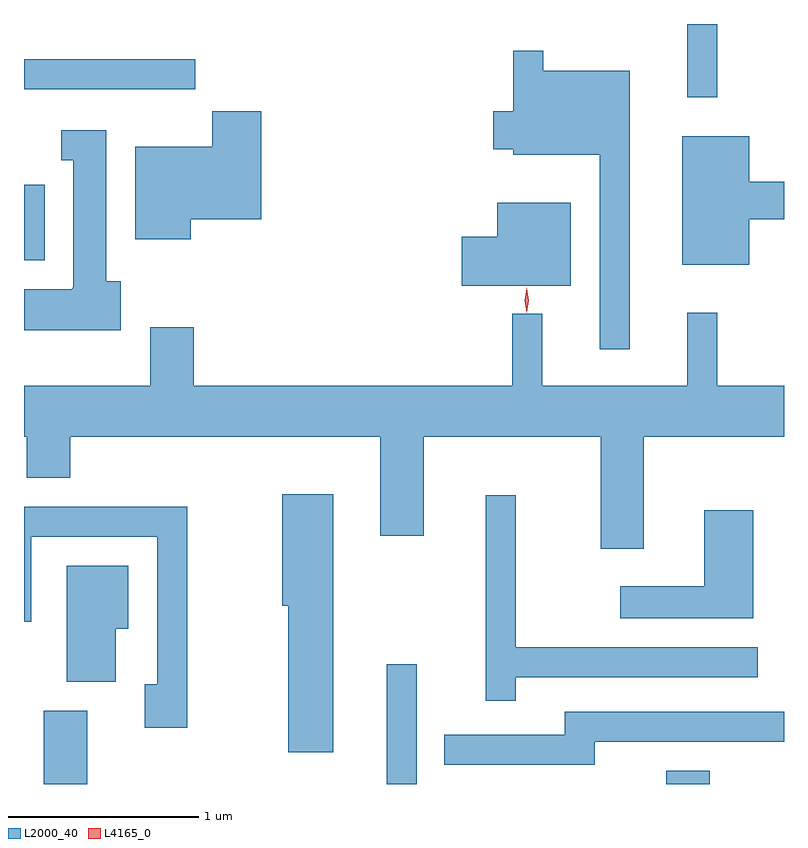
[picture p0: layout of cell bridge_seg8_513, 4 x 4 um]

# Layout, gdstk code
import gdstk
lib = gdstk.Library(unit=1e-6, precision=1e-09)
def R(c, l, rs):  # rectangles x0, y0, x1, y1
    for r in rs: c.add(gdstk.rectangle(r[:2], r[2:], *l))
def P(c, l, *ps):  # polygons
    for p in ps: c.add(gdstk.Polygon(p, *l))
L2000_40 = (2000, 40)
L4165_0 = (4165, 0)

bridge_seg8_513 = lib.new_cell('bridge_seg8_513')
R(bridge_seg8_513, L2000_40, [(224.741,1839.029,224.969,1839.414), (226.546,1839.029,226.704,1839.658), (228.016,1839.029,228.244,1839.099), (224.636,1841.786,224.744,1842.184), (228.126,1842.643,228.284,1843.029), (224.636,1842.686,225.538,1842.844)])
P(bridge_seg8_513, L2000_40, [(227.824,1842.784),(227.369,1842.784),(227.369,1842.888),(227.211,1842.888),(227.211,1842.569),(227.106,1842.569),(227.106,1842.371),(227.211,1842.371),(227.211,1842.341),(227.666,1842.341),(227.666,1841.318),(227.824,1841.318)],
  [(225.514,1842.001),(225.884,1842.001),(225.884,1842.569),(225.626,1842.569),(225.626,1842.384),(225.221,1842.384),(225.221,1841.896),(225.514,1841.896)],
  [(225.144,1841.674),(225.069,1841.674),(225.069,1842.469),(224.833,1842.469),(224.833,1842.311),(224.896,1842.311),(224.896,1841.64),(224.89,1841.64),(224.89,1841.634),(224.636,1841.634),(224.636,1841.416),(225.144,1841.416)],
  [(228.454,1842.001),(228.636,1842.001),(228.636,1842.199),(228.454,1842.199),(228.454,1842.439),(228.101,1842.439),(228.101,1841.761),(228.454,1841.761)],
  [(227.514,1842.089),(227.126,1842.089),(227.126,1841.909),(226.941,1841.909),(226.941,1841.651),(227.514,1841.651)],
  [(227.899,1840.856),(228.636,1840.856),(228.636,1841.124),(228.284,1841.124),(228.284,1841.508),(228.126,1841.508),(228.126,1841.124),(227.364,1841.124),(227.364,1841.503),(227.206,1841.503),(227.206,1841.124),(225.529,1841.124),(225.529,1841.434),(225.301,1841.434),(225.301,1841.124),(224.636,1841.124),(224.636,1840.856),(224.651,1840.856),(224.651,1840.641),(224.879,1840.641),(224.879,1840.856),(226.511,1840.856),(226.511,1840.336),(226.739,1840.336),(226.739,1840.856),(227.671,1840.856),(227.671,1840.266),(227.899,1840.266)],
  [(226.264,1840.554),(225.996,1840.554),(225.996,1839.966),(226.026,1839.966),(226.026,1839.196),(226.264,1839.196)],
  [(227.224,1839.591),(228.498,1839.591),(228.498,1839.749),(227.224,1839.749),(227.224,1840.548),(227.066,1840.548),(227.066,1839.468),(227.224,1839.468)],
  [(225.494,1840.489),(224.636,1840.489),(224.636,1839.883),(224.674,1839.883),(224.674,1840.331),(225.336,1840.331),(225.336,1839.554),(225.271,1839.554),(225.271,1839.326),(225.494,1839.326)],
  [(228.474,1840.469),(228.216,1840.469),(228.216,1840.069),(227.773,1840.069),(227.773,1839.901),(228.474,1839.901)],
  [(225.119,1839.846),(225.184,1839.846),(225.184,1840.179),(224.861,1840.179),(224.861,1839.566),(225.119,1839.566)],
  [(227.639,1839.251),(228.636,1839.251),(228.636,1839.409),(227.481,1839.409),(227.481,1839.289),(226.848,1839.289),(226.848,1839.131),(227.639,1839.131)])
P(bridge_seg8_513, L4165_0, [(227.282,1841.509),(227.282,1841.509),(227.272,1841.574),(227.282,1841.639),(227.282,1841.64),(227.283,1841.639),(227.292,1841.574),(227.283,1841.509)])

lib.write_gds('bridge_seg8_513.gds')
